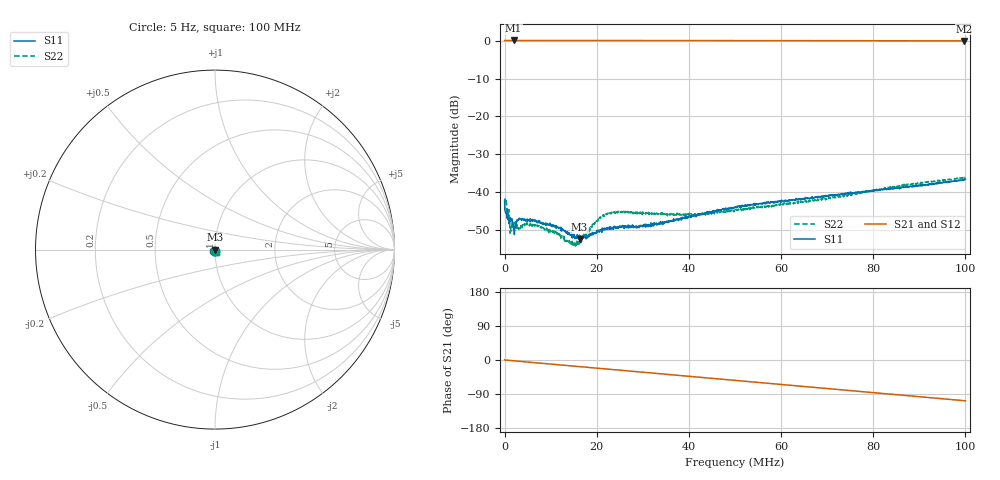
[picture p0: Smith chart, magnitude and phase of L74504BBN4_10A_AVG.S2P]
!Agilent Technologies,E5061B,MY49102235,A.02.00
!Date: Tue Jul 11 16:38:05 2023
!Data & Calibration Information:
!Freq	S11:SOLT2(ON)	S21:SOLT2(ON)	S12:SOLT2(ON)	S22:SOLT2(ON)
# Hz S RI R 50
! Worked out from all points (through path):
!   1600 points, 5 Hz to 100 MHz, reference 50 ohm
!   highest |S21| = 0.02 dB at 1.939 MHz (marker M1); lowest = -0.1 dB at 99.75 MHz (marker M2)
!   group delay of S21, straight-line fit = 2.99 ns
!   lowest |S11| = -52.4 dB at 16.26 MHz (marker M3), VSWR 1.00, Z = 50.2 - j0.12 ohm
!   |S11| at or under -10 dB: start of sweep to end of sweep
!   |S22| runs from -54.1 to -36.0 dB; largest |S21 - S12| = 0.0027
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5  -0.00515 -0.00563  1.002 0.00798  1 0.0103  -0.00144 -0.00756
500317.7  0.00459 0.000151  1.001 -0.00836  1.002 -0.00816  0.00482 -0.00145
1000630  0.00382 0.000455  1.001 -0.0178  1.001 -0.0173  0.00518 -0.000459
1500943  0.00442 -0.000675  1.001 -0.0269  1.001 -0.0266  0.00308 -0.00182
1938717  0.00323 5.84e-05  1.002 -0.036  1.001 -0.0355  0.00351 0.000312
2439029  0.0039 -4.19e-05  0.9996 -0.0461  0.9993 -0.0456  0.00376 0.000428
3126959  0.0046 2.36e-05  0.9992 -0.0585  0.999 -0.0583  0.00347 0.000213
4565358  0.00421 -0.000251  0.9972 -0.0852  0.997 -0.0849  0.00384 0.000174
6128835  0.00435 -0.00073  0.9946 -0.1142  0.9946 -0.1144  0.00379 -0.000437
1.138212e7  0.00311 -0.0018  0.9785 -0.2119  0.9781 -0.2115  0.00202 -0.00198
1.457161e7  0.00215 -0.00149  0.9635 -0.27  0.9634 -0.2696  0.00138 -0.00149
1.626017e7  0.00209 -0.0012  0.9544 -0.3004  0.9543 -0.2999  0.00182 -0.0013
1.669794e7  0.00225 -0.00109  0.9518 -0.3082  0.9517 -0.3079  0.00183 -0.00121
1.957474e7  0.00287 -0.000476  0.9338 -0.3591  0.9337 -0.3589  0.00377 -0.00129
2.232646e7  0.00337 -0.000256  0.914 -0.4068  0.9139 -0.4066  0.00513 -0.00121
3.333334e7  0.00381 -0.000921  0.8105 -0.5853  0.8104 -0.585  0.00476 -0.00196
4.108818e7  0.00464 -0.00184  0.7163 -0.6961  0.7165 -0.696  0.00444 -0.00239
5.003127e7  0.00572 -0.00291  0.5896 -0.8057  0.5895 -0.8054  0.00501 -0.00321
6.672921e7  0.00526 -0.00654  0.3112 -0.9461  0.3115 -0.9461  0.00597 -0.00516
8.33646e7  0.00636 -0.00918  0.00525 -0.9933  0.00521 -0.9932  0.00768 -0.00862
9.974984e7  0.00492 -0.0139  -0.2958 -0.9446  -0.2956 -0.9447  0.00736 -0.014
1e8  0.00492 -0.014  -0.3002 -0.9433  -0.3001 -0.9434  0.0072 -0.0139
